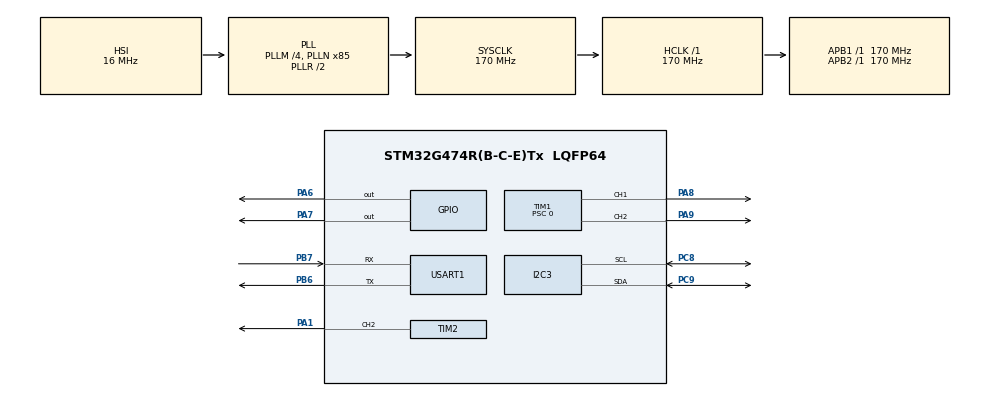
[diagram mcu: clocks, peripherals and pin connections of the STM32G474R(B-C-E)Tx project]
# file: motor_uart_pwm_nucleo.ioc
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I2C3.Timing=0x40B285C2
Mcu.Family=STM32G4
Mcu.Name=STM32G474R(B-C-E)Tx
Mcu.Package=LQFP64
NUCLEO-G474RE.BUTTON=1
NUCLEO-G474RE.LD2=true
NUCLEO-G474RE.VCP=false
NVIC.EXTI15_10_IRQn=true\:0\:0\:false\:false\:true\:false\:true\:true
NVIC.PriorityGroup=NVIC_PRIORITYGROUP_4
NVIC.TIM4_IRQn=true\:0\:0\:false\:false\:true\:true\:true\:true
NVIC.USART1_IRQn=true\:1\:0\:true\:false\:true\:true\:true\:true
PA1.Signal=S_TIM2_CH2
PA13.GPIO_Label=T_SWDIO
PA13.Mode=Serial_Wire
PA13.Signal=SYS_JTMS-SWDIO
PA14.GPIO_Label=T_SWCLK
PA14.Mode=Serial_Wire
PA14.Signal=SYS_JTCK-SWCLK
PA6.GPIO_PuPd=GPIO_NOPULL
PA6.Signal=GPIO_Output
PA7.Signal=GPIO_Output
PA8.GPIO_Speed=GPIO_SPEED_FREQ_VERY_HIGH
PA8.Signal=S_TIM1_CH1
PA9.GPIO_Speed=GPIO_SPEED_FREQ_VERY_HIGH
PA9.Signal=S_TIM1_CH2
PB3.GPIO_Label=T_SWO
PB3.Signal=SYS_JTDO-SWO
PB6.Mode=Asynchronous
PB6.Signal=USART1_TX
PB7.Mode=Asynchronous
PB7.Signal=USART1_RX
PC14-OSC32_IN.GPIO_Label=RCC_OSC32_IN
PC14-OSC32_IN.Signal=RCC_OSC32_IN
PC15-OSC32_OUT.GPIO_Label=RCC_OSC32_OUT
PC15-OSC32_OUT.Signal=RCC_OSC32_OUT
PC8.Mode=I2C
PC8.Signal=I2C3_SCL
PC9.Mode=I2C
PC9.Signal=I2C3_SDA
PF0-OSC_IN.GPIO_Label=RCC_OSC_IN
PF0-OSC_IN.Mode=HSE-External-Oscillator
PF0-OSC_IN.Signal=RCC_OSC_IN
PF1-OSC_OUT.GPIO_Label=RCC_OSC_OUT
PF1-OSC_OUT.Mode=HSE-External-Oscillator
PF1-OSC_OUT.Signal=RCC_OSC_OUT
ProjectManager.HeapSize=0x200
ProjectManager.StackSize=0x400
ProjectManager.TargetToolchain=CMake
RCC.ADC12Freq_Value=170000000
RCC.ADC345Freq_Value=170000000
RCC.AHBFreq_Value=170000000
RCC.APB1Freq_Value=170000000
RCC.APB1TimFreq_Value=170000000
RCC.APB2Freq_Value=170000000
RCC.APB2TimFreq_Value=170000000
RCC.CortexFreq_Value=170000000
RCC.EXTERNAL_CLOCK_VALUE=12288000
RCC.HCLKFreq_Value=170000000
RCC.HSE_VALUE=24000000
RCC.HSI48_VALUE=48000000
RCC.HSI_VALUE=16000000
RCC.LSE_VALUE=32768
RCC.PLLM=RCC_PLLM_DIV4
RCC.PLLN=85
RCC.RTCClockSelection=RCC_RTCCLKSOURCE_LSE
RCC.SYSCLKFreq_VALUE=170000000
RCC.SYSCLKSource=RCC_SYSCLKSOURCE_PLLCLK
RCC.USBFreq_Value=170000000
RCC.VCOOutputFreq_Value=340000000
SH.S_TIM1_CH1.0=TIM1_CH1,PWM Generation1 CH1
SH.S_TIM1_CH2.0=TIM1_CH2,PWM Generation2 CH2
SH.S_TIM2_CH2.0=TIM2_CH2,PWM Generation2 CH2
TIM1.AutoReloadPreload=TIM_AUTORELOAD_PRELOAD_ENABLE
TIM1.Channel-PWM\ Generation1\ CH1=TIM_CHANNEL_1
TIM1.Channel-PWM\ Generation2\ CH2=TIM_CHANNEL_2
TIM1.PeriodNoDither=8499
TIM1.Prescaler=0
TIM2.AutoReloadPreload=TIM_AUTORELOAD_PRELOAD_DISABLE
TIM2.Channel-PWM\ Generation2\ CH2=TIM_CHANNEL_2
TIM2.PeriodNoDither=2999
TIM2.Prescaler=169
TIM2.PulseNoDither_2=1520
TIM4.PeriodNoDither=19
TIM4.Prescaler=16999
USART1.VirtualMode-Asynchronous=VM_ASYNC
VP_NUCLEO-G474RE_VS_BSP_COMMON.Mode=COMMON
VP_SYS_VS_DBSignals.Mode=DisableDeadBatterySignals
VP_TIM1_VS_ClockSourceINT.Mode=Internal
VP_TIM2_VS_ClockSourceINT.Mode=Internal
VP_TIM4_VS_ClockSourceINT.Mode=Internal
board=NUCLEO-G474RE

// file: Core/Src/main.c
/* USER CODE BEGIN Header */
/**
  ******************************************************************************
  * @file           : main.c
  * @brief          : Main program body
  ******************************************************************************
  * @attention
  *
  * Copyright (c) 2026 STMicroelectronics.
  * All rights reserved.
  *
  * This software is licensed under terms that can be found in the LICENSE file
  * in the root directory of this software component.
  * If no LICENSE file comes with this software, it is provided AS-IS.
  *
  ******************************************************************************
  */
/* USER CODE END Header */
#include "main.h"
#include "i2c.h"
#include "tim.h"
#include "usart.h"
#include "gpio.h"

/* USER CODE BEGIN Includes */
#include "bms_app.h"     // MAX17320 pack monitor on I2C3, console on the VCP
#include "bms_io.h"      // console printing, for the steering calibration keys

#include "steering.h"
#include <string.h>
#include <stdlib.h>
#include "motor_dc.h"
#include "i2c_bus.h"

/* USER CODE END Includes */

/* USER CODE BEGIN PD */

#define UART_PACKET_START     0xA5
#define UART_PACKET_SIZE      5

#define UART_CMD_CONTROL      0x10
#define UART_CMD_ESTOP        0x11
#define UART_CMD_PING         0x12
#define UART_CMD_STOP         0x13

#define DC_PERCENT_MAX        100
#define DC_PWM_MIN_START      1280
#define DC_PWM_MAX            5000

// Physical direction inversion, in one named place.
//
// The protocol says motor_percent > 0 means DRIVE FORWARD. motor_dc.h says
// speed > 0 energises RPWM (PA8/TIM1_CH1). On this vehicle those two do not
// agree: with the bridge wired as it is, RPWM drives the wheels BACKWARDS.
// So the protocol value is negated exactly once, here, on its way into
// MotorPercent_ToPwm(), and nothing downstream needs to know.
//
// VERIFIED ON THE VEHICLE 2026-08-16: with the car on blocks, the bench-drive
// forward key turned the wheels physically forward. This sign is correct as it
// stands -- do not "fix" it without re-testing on blocks.
//
// If the motor leads are ever swapped, flip this to +1 and change nothing
// else. It was previously an unexplained unary minus buried in the CONTROL
// handler, which is a bad place for the one line that decides whether "full
// throttle forward" drives the car into the audience.
#define MOTOR_FORWARD_SIGN    (-1)

// Speed ceiling, as a percentage of the span ABOVE the breakaway threshold.
// DC_PWM_MIN_START is never scaled -- below it the motor does not turn at
// all, so shrinking that would produce a dead zone rather than a slow car.
//
// The vehicle weighs about 4 kg (verify -- it has never been put on a
// scale, and the figure quoted here used to be 10 kg, which is either a
// stale number from an earlier chassis or a guess; weigh it before using
// this to reason about anything), and breaking away from standstill needs
// noticeably more torque than keeping it rolling. So the default starts
// HIGH ENOUGH TO DEFINITELY MOVE and is meant to be dialled DOWN on the
// floor -- starting low and creeping up leaves you unable to tell "the
// limit is too low" from "something is mechanically stuck".
//
// What made it violent before was not this ceiling, it was that the ceiling
// was applied instantly. With the ramp, the same top speed is reached over
// a couple of seconds.
//
// Adjustable live from the console with + and - (5 % steps), reported by m.
// Once a good value is found on the floor, put it here so it survives a reset.
//
// SET TO 35 % on 2026-08-16, chosen ON THE FLOOR under the car's own weight,
// not on blocks. The requirement is that it moves slowly and deliberately, not
// that it reaches a good top speed. Walked up 20 -> 25 -> 30 on the bench,
// then raised to 35 after actually driving it around on the joystick, which
// is the only test that counts. 40 was the other candidate -- if 35 still
// feels short, '+' one step and put 40 here.
//
// DC_PWM_MIN_START is added before this scaling and never scaled by it, which
// is what keeps the breakaway kick intact at a low ceiling -- the car still
// starts from standstill, it just tops out low.
//
// Pack current measured at this setting, which is what matters because the
// protector sits in the motor's path:
//     0.11 A at rest      0.44 A wheels in the air
//     1.5 A driving straight      2.3 A driving at full steering lock
// No protector trips at any point, against a practical ceiling near 10 A set
// by the 5 mOhm shunt's own dissipation.
#define DC_SPEED_LIMIT_PCT_DEFAULT   40

// Set to 1 only for bench testing without a UART master connected.
// Keep it 0 for normal operation: the demo block below drives the servo
// through Steering_SetPosition() itself and would fight real UART commands,
// plus its HAL_Delay() calls stall UART packet processing for seconds.
//
// While this is 1 the main loop blocks for 4 s per iteration, so the drive
// watchdog, the partial-frame recovery and the pack monitor all stop being
// serviced for that long. The motor is started and hard-braked twice per
// iteration for as long as the board is powered, with nobody watching.
// Never leave this enabled on a board connected to the pack.
#define STEERING_DEMO_SELFTEST   0

#if STEERING_DEMO_SELFTEST
#warning "STEERING_DEMO_SELFTEST is ENABLED: the motor will run on its own, unattended. Bench only."
#endif

// Drive watchdog: how long the motor may keep running without a fresh valid
// CONTROL packet.
//
// This value is COUPLED TO THE RASPBERRY PI and must not be lowered alone.
// pi-control/controller.py sends a packet only when the command changes, plus
// a keepalive every _RESEND_INTERVAL = 0.2 s. So with the stick held still the
// link runs at 5 Hz, not at "tens of Hz" as was once assumed here.
//
// 500 ms is therefore two and a half keepalive intervals of margin. 300 ms
// would leave one and a half: a single dropped packet, or one scheduling
// hiccup on a Pi that is also running a TFLite model under the GIL, would
// stop the car mid-demonstration and look like a random fault.
//
// To go faster, change BOTH sides: _RESEND_INTERVAL = 0.05 on the Pi first,
// then this to 300U. Six intervals of margin and a fail-safe twice as quick.
#define UART_CONTROL_TIMEOUT_MS          500U

// The bench-drive console keys ('t'/'v') get their own, longer deadline.
//
// They are fed by terminal key auto-repeat, and auto-repeat does NOT start at
// the repeat rate -- it starts after the repeat DELAY, which is 660 ms by X11
// default and 500 ms on GNOME. With one shared 500 ms deadline the first
// repeat arrives at or after the deadline, so a *held* key produces
// arm -> fail-safe -> re-arm on every hold: the ramp is reset to zero and the
// pack sees a repeated breakaway load instead of one smooth pull. 900 ms
// clears the worst common repeat delay with margin.
//
// This does not weaken the RPi path: that still uses UART_CONTROL_TIMEOUT_MS.
#define BENCH_DRIVE_TIMEOUT_MS           900U

// How long a bench-drive arm stays valid. The first 't'/'v' keypress only
// arms; driving needs a second press inside this window. One stray byte on
// the console therefore cannot command throttle at all -- which matters
// because, unlike the RPi path, a console key has no start byte, no length
// and no checksum protecting it.
#define BENCH_ARM_WINDOW_MS             3000U

// Recovery from a packet that started but was not completed. At 115200 baud
// a 5-byte packet takes about 0.43 ms, so 10 ms is over twenty frame times:
// generous enough never to chop a frame that is merely in flight, short
// enough to resynchronise long before the drive watchdog above expires.
#define UART_PARTIAL_FRAME_TIMEOUT_MS      10U

// --- Pack telemetry interlock -----------------------------------------------
//
// bms_app_pack_state() reports BMS_PACK_UNKNOWN whenever it has no fresh
// sample, i.e. whenever the I2C link to the gauge is down. Treating that as
// "carry on driving" makes the interlock fail-open: a pulled I2C wire silently
// removes the only protection that watches the pack, and the car keeps its
// full-authority bridge enabled with nobody looking at the cells.
//
// So UNKNOWN is given a short grace period (the poll runs every 250 ms and the
// monitor calls a sample stale after 1.5 s, so 2 s is about one missed sample
// beyond the monitor's own staleness limit -- long enough that a single
// hiccup does not stop the car, short enough that a real disconnection does).
// After that the drive is dropped, and re-arming needs a positive, fresh
// BMS_PACK_OK -- not merely "not BLOCKED", which UNKNOWN also satisfies.
//
// Set to 0 to build a firmware that drives on blind. This is the escape hatch
// for the case where the interlock itself is the failure: a broken I2C wire
// discovered ten minutes before a live demonstration must not be able to
// immobilise the vehicle. There is a runtime escape too (console key 'i'),
// which is preferable because it needs no rebuild and announces itself loudly.
//
// Note that neither escape touches BMS_PACK_BLOCKED. BLOCKED is a positive
// statement that the protector has opened the discharge path, and dropping the
// bridge on it is the behaviour that keeps the load off the protector during
// its recovery -- the cycle that destroyed the previous board. That stays
// unconditional.
#ifndef BMS_INTERLOCK_REQUIRE_TELEMETRY
#define BMS_INTERLOCK_REQUIRE_TELEMETRY  1
#endif

#define BMS_TELEMETRY_GRACE_MS         2000U

// --- Independent watchdog ---------------------------------------------------
//
// IWDG runs off the LSI, which is independent of the PLL and of every clock
// this firmware configures, so it survives a clock failure as well as a
// software livelock. Nothing else in this build can recover a main loop that
// stops looping: the drive watchdog, the partial-frame recovery and the pack
// interlock are all evaluated *by* that loop.
//
// Timeout choice. The longest legitimate main-loop iteration is not the drive
// path (microseconds) but the pack monitor's console commands, which do
// blocking I2C: the NV config check reads ten registers, each of which can sit
// in its 50 ms HAL timeout on a sick bus, and the probe/bus-check keys add
// their own hundreds of milliseconds. Round that worst case up to ~1 s. The
// period below is 2.5 s nominal, so roughly 2.5x the worst legitimate
// iteration -- a console command cannot trip it -- while a genuine hang is
// caught in under three seconds.
//
// 2.5 s at LSI 32 kHz: prescaler /128 gives a 250 Hz count, so 625 counts.
// LSI is specified 31.04..32.96 kHz on this part, which puts the real window
// at 2.43..2.58 s. Both ends are comfortably clear of the ~1 s worst case.
#define IWDG_KR_RELOAD    0x0000AAAAU
#define IWDG_KR_ENABLE    0x0000CCCCU
#define IWDG_KR_UNLOCK    0x00005555U
#define IWDG_PRESCALER_128        0x05U   // PR[2:0] = 5 -> LSI/128
#define IWDG_RELOAD_COUNTS         625U   // 625 / (32000/128) = 2.5 s

// Contact bounce on the blue USER button is a burst of edges over a few
// milliseconds. Latching an emergency stop twice is harmless, so this window
// exists only to keep one press from printing several times; it is not a
// correctness requirement.
#define ESTOP_BUTTON_DEBOUNCE_MS    200U

// How long after latching a stop the same button will refuse to clear it.
// Long enough that clearing is unmistakably a second, deliberate press rather
// than a bounce, a knock, or the tail of a panicked double-tap.
#define ESTOP_BUTTON_REARM_MS      1500U

/* USER CODE END PD */

/* USER CODE BEGIN PV */

uint8_t rx_byte;

uint8_t uart_packet[UART_PACKET_SIZE];
volatile uint8_t uart_packet_index = 0;

static volatile uint8_t uart_packet_ready = 0;
static uint8_t uart_packet_rx[UART_PACKET_SIZE];

// UART safety state.
// drive_watchdog_armed is set only by valid CONTROL packets. PING/unknown
// packets must not keep the car driving.
static volatile uint32_t last_control_packet_tick = 0U;
static volatile uint32_t last_rx_byte_tick = 0U;
static volatile uint8_t drive_watchdog_armed = 0U;

// Which deadline the CONTROL watchdog is currently enforcing. Set by whichever
// source last commanded the drive, so the RPi keeps its tight 500 ms while the
// console bench keys get the longer window auto-repeat needs.
static volatile uint32_t drive_timeout_ms = UART_CONTROL_TIMEOUT_MS;

// RPi link statistics, printed by the 'l' console key.
//
// Without these the only way to tell a live link from a dead one is to watch
// whether the car moves, which means finding out about a broken link with the
// wheels already turning. These separate the failure modes: no bytes at all
// (cable, ground, RPi not booted) reads differently from bytes arriving but
// failing CRC (baud rate, noise, wrong wiring), which reads differently again
// from good frames being rejected on value range (protocol mismatch).
//
// They are plain counters, never cleared, so a rate is the difference between
// two readings. Incrementing a uint32_t is a few cycles and the ones touched
// from the ISR are written only there, so no guarding is needed.
static volatile uint32_t link_bytes       = 0U;  // bytes seen by the RX ISR
static volatile uint32_t link_frames      = 0U;  // complete 5-byte frames assembled
static volatile uint32_t link_frames_used = 0U;  // frames the main loop actually read
/* Five-byte windows rejected by the checksum -- not frames. After a resync the
 * windows overlap, so on an 0xA5-dense line this can rise much faster than one
 * per frame. Compare it against link_frames, never against a frame count from
 * before the sliding resync existed. */
static volatile uint32_t link_crc_err     = 0U;
static volatile uint32_t link_range_err   = 0U;  // CONTROL rejected on value range
static volatile uint32_t link_control_ok  = 0U;  // CONTROL accepted and acted on
static volatile uint32_t link_estop       = 0U;  // ESTOP frames latched in the ISR
static volatile uint32_t link_uart_err    = 0U;  // HAL error callbacks (noise/overrun)
static volatile uint32_t link_partial     = 0U;  // frames that started but never finished
static volatile uint32_t link_resync      = 0U;  // sliding-window resyncs after a bad checksum

// Payload of the last accepted CONTROL packet, plus the largest throttle
// magnitude ever seen. Without these, "the car does not move" cannot be told
// apart from "the sender is asking for zero throttle" -- the firmware side
// looks identical in both cases: link healthy, bridge armed, no faults.
static volatile int8_t   link_last_motor  = 0;
static volatile uint8_t  link_last_steer  = 50U;
static volatile uint8_t  link_max_motor   = 0U;  // peak |motor_percent| seen
static volatile uint8_t  link_steer_min   = 255U;
static volatile uint8_t  link_steer_max   = 0U;

// Times the drive was dropped by something other than the operator, and how
// long ago the last one was.
//
// These exist because a watchdog drop and ordinary load look identical from
// the driver's seat: the car simply goes slow for a moment. It is not the same
// event at all -- a watchdog drop opens the bridge and restarts the ramp from
// zero, which costs about a second to get back to speed, and it means a
// command was lost. Guessing between "the link hiccupped" and "the turn was
// just heavy" is exactly the kind of thing that cannot be done on a stage.
static volatile uint32_t drop_watchdog    = 0U;  // CONTROL watchdog expired
static volatile uint32_t drop_pack        = 0U;  // pack interlock took the drive
static volatile uint32_t drop_last_tick   = 0U;

// After the pack protector cuts the discharge path, the bridge must stay
// off until the pack has read healthy continuously for this long. Without
// it the RPi's command stream -- controller.py resends at least every 200 ms
// (_RESEND_INTERVAL = 0.2, so ~5 Hz at rest and faster while the joystick is
// moving) -- would re-arm on the very next packet, and the protector would be
// hammered repeatedly, which is precisely the cycle that destroyed the
// previous board. Use the 'l' console key to see the measured rate.
#define PACK_RECOVER_HOLD_MS  1000U

static volatile uint32_t pack_rearm_after_tick = 0U;

// Pack telemetry interlock state.
//   pack_telemetry_ok    -- the most recent evaluation of bms_app_pack_state()
//                           returned a positive BMS_PACK_OK. Re-arming requires
//                           this, so "the monitor is silent" can never be
//                           mistaken for "the pack is fine".
//   pack_unknown_since   -- when the current run of UNKNOWN began, for the
//                           grace period. Only meaningful while
//                           pack_unknown_active is set.
static volatile uint8_t  pack_telemetry_ok    = 0U;
static volatile uint8_t  pack_unknown_active  = 0U;
static volatile uint32_t pack_unknown_since   = 0U;

// Runtime escape from the telemetry half of the interlock, armed from the
// console with 'i'. Session-scoped on purpose: it is deliberately NOT
// persisted anywhere, so a power cycle puts the interlock back.
static volatile uint8_t  bms_telemetry_interlock_off = 0U;

// --- Emergency stop latch ---------------------------------------------------
//
// "Latest packet wins" is the right rule for CONTROL and the wrong rule for
// ESTOP. The USART1 ISR holds exactly one completed packet, so if an ESTOP and
// a CONTROL both land between two passes of the main loop the ESTOP is
// overwritten and never acted on -- the one packet that must never be dropped
// is the one this design drops most easily.
//
// So ESTOP is not carried in that mailbox at all. The ISR sets this flag, and
// it is sticky: it is cleared only by a deliberate re-arm (console 'e', or a
// board reset), never by the CONTROL packets that keep arriving behind it.
// Acting on the same stop twice is harmless; losing it once is not.
//
// estop_handled is main-loop-only bookkeeping so the fail-safe (which sleeps
// 3 ms and prints) runs once per latch rather than every pass.
static volatile uint8_t estop_latched = 0U;
static uint8_t          estop_handled = 0U;

static volatile uint8_t motor_limit_pct = DC_SPEED_LIMIT_PCT_DEFAULT;

// Reflects the state of R_EN/L_EN (PA6/PA7). The bridge is NOT armed at boot:
// it is armed by the first valid CONTROL packet and disarmed by every fault
// path, so there is no window where a live bridge is unsupervised.
static volatile uint8_t drive_enabled = 0U;

/* USER CODE END PV */

void SystemClock_Config(void);
/* USER CODE BEGIN PFP */

static uint8_t UART_CalcCRC(uint8_t start, uint8_t cmd, uint8_t motor, uint8_t steer);
static void UART_Resync(void);
static int16_t MotorPercent_ToPwm(int8_t percent);
static void UART_SendPacket(uint8_t cmd, int8_t motor, uint8_t steer_position);
static void UART_ProcessPacket(uint8_t *packet);
static bool Console_AuxKey(char c);
static bool Console_MayBlock(void);
static void IWDG_Start(void);

// Declared up here because Console_AuxKey() drives the bench-test keys through
// the very same arming path a CONTROL packet uses, and it is defined above the
// drive helpers.
static void Drive_Arm(void);
static void IWDG_Refresh(void);

// True while the telemetry half of the pack interlock is in force. Compiled
// out entirely by BMS_INTERLOCK_REQUIRE_TELEMETRY=0; otherwise it can still be
// waived for the rest of the session from the console.
static inline bool Bms_TelemetryInterlockActive(void)
{
#if BMS_INTERLOCK_REQUIRE_TELEMETRY
    return (bms_telemetry_interlock_off == 0U);
#else
    (void)bms_telemetry_interlock_off;   // kept referenced in the =0 build
    return false;
#endif
}
// -----------------------------------------------------------------------------
// Vehicle console: steering calibration, speed limit, and the two safety
// overrides.
//
//   e     clear a latched emergency stop (deliberate re-arm)
//   i     waive the pack TELEMETRY interlock for the rest of this session,
//         with a confirmation. Never waives BMS_PACK_BLOCKED.
//   m     report motor limit, emergency-stop latch and interlock state
//
// Steering calibration.
//
// The 0..100 position scale interpolates between STEERING_LEFT_US and
// STEERING_RIGHT_US, and those are only valid for one mechanical setup. After
// the steering geometry changes, driving to 0 or 100 can push the servo into a
// stop -- where it stalls, draws its full stall current continuously from the
// pack, and works against the linkage.
//
// So these keys command the pulse width directly, over the monitor's console
// on the ST-Link VCP, and the stops can be found without rebuilding:
//
//   >  <   step +/- 10 us        =   back to the compiled centre
//   .  ,   step +/- 50 us        s   report the commanded pulse width
//
// Procedure: unload the linkage (or lift the wheels), press '=', then step
// outwards a little at a time. Stop at the FIRST sign of buzzing or of the
// current rising -- that is the stop, not the limit. Back off 50..80 us from
// it and use that as the new STEERING_LEFT_US / STEERING_RIGHT_US.
// -----------------------------------------------------------------------------
static bool Console_AuxKey(char c)
{
    // Tracked separately from Steering_GetCurrentPulseUs(), which lags while
    // the slew is still running -- stepping off the lagging value would make
    // each press move less than it says.
    static uint16_t calib_us = 0U;

    // Waiving the telemetry interlock is a two-key sequence, because it turns
    // off a protection for the rest of the session and a stray keystroke must
    // not be able to do that. The pending state expires on its own so it
    // cannot silently swallow a later 'y' meant for something else.
    static bool     interlock_confirm_pending = false;
    static uint32_t interlock_confirm_tick    = 0U;

    int32_t step = 0;

    if (calib_us == 0U)
    {
        calib_us = Steering_GetCurrentPulseUs();
    }

    if (interlock_confirm_pending)
    {
        if ((int32_t)(HAL_GetTick() - interlock_confirm_tick) >= 0)
        {
            // Expired. Fall through and treat this key as an ordinary command.
            interlock_confirm_pending = false;
        }
        else
        {
            interlock_confirm_pending = false;

            if ((c == 'y') || (c == 'Y'))
            {
                bms_telemetry_interlock_off = 1U;
                bms_printf(
                    "\r\n"
                    "*** PACK TELEMETRY INTERLOCK IS OFF ***\r\n"
                    "*** The car will now drive with NO fresh pack data. Nothing\r\n"
                    "*** is watching cell voltage, current or temperature. The\r\n"
                    "*** protector's own BLOCKED signal is still honoured, but it\r\n"
                    "*** cannot be seen while the I2C link is down.\r\n"
                    "*** Fix the link. Power-cycle the board to restore this.\r\n");
            }
            else
            {
                bms_printf("\r\ninterlock override cancelled -- interlock still ON\r\n");
            }
            return true;
        }
    }

    switch (c)
    {
        case 'l':
        case 'L':
        {
            // Snapshot the counters once. They are written from the RX ISR,
            // so reading each one twice could print a self-inconsistent set
            // (e.g. more frames used than assembled).
            uint32_t now         = HAL_GetTick();
            uint32_t bytes       = link_bytes;
            uint32_t frames      = link_frames;
            uint32_t used        = link_frames_used;
            uint32_t ctrl_ok     = link_control_ok;
            uint32_t crc_bad     = link_crc_err;
            uint32_t range_bad   = link_range_err;
            uint32_t estops      = link_estop;
            uint32_t uart_errs   = link_uart_err;
            uint32_t byte_age    = now - last_rx_byte_tick;
            uint32_t ctrl_age    = now - last_control_packet_tick;

            // Frames the ISR assembled while the main loop was busy, so the
            // mailbox was overwritten before it was read. A few is normal;
            // a large and growing number means the loop is being held up.
            uint32_t overwritten = frames - used;

            // bms_printf() truncates past 256 bytes, so this is deliberately
            // split rather than written as one big format string.
            bms_printf("\r\nRPi link  --  USART1 PB6/PB7 @ 115200 8N1\r\n"
                       "  bytes      %10lu    last byte    %lu ms ago\r\n",
                       (unsigned long)bytes, (unsigned long)byte_age);
            bms_printf("  frames     %10lu    overwritten  %lu\r\n"
                       "  CONTROL ok %10lu    last CONTROL %lu ms ago\r\n",
                       (unsigned long)frames, (unsigned long)overwritten,
                       (unsigned long)ctrl_ok, (unsigned long)ctrl_age);
            bms_printf("  CRC bad(w) %10lu    range bad    %lu\r\n"
                       "  ESTOP rx   %10lu    UART errors  %lu\r\n",
                       (unsigned long)crc_bad, (unsigned long)range_bad,
                       (unsigned long)estops, (unsigned long)uart_errs);
            bms_printf("  truncated  %10lu    resyncs      %lu\r\n",
                       (unsigned long)link_partial, (unsigned long)link_resync);
            bms_printf("  last CONTROL payload: motor %d %%   steer %u\r\n"
                       "  seen so far: |motor| max %u %%   steer %u..%u\r\n",
                       (int)link_last_motor, (unsigned)link_last_steer,
                       (unsigned)link_max_motor,
                       (unsigned)((link_steer_min == 255U) ? 0U : link_steer_min),
                       (unsigned)link_steer_max);

            {
                uint32_t wd = drop_watchdog, pk = drop_pack;

                if ((wd == 0U) && (pk == 0U))
                {
                    bms_print("  drive never dropped by itself since boot\r\n");
                }
                else
                {
                    bms_printf("  DRIVE DROPPED: link watchdog %lu, pack %lu"
                               "  (last %lu ms ago)\r\n",
                               (unsigned long)wd, (unsigned long)pk,
                               (unsigned long)(now - drop_last_tick));
                    bms_print("  -> each drop opens the bridge and restarts the\r\n"
                              "     ramp from zero: about a second back to speed.\r\n");
                }
            }
            bms_printf("  drive watchdog %s  (timeout %u ms)\r\n",
                       drive_watchdog_armed ? "ARMED" : "not armed",
                       (unsigned)UART_CONTROL_TIMEOUT_MS);

            // A verdict, so the numbers do not have to be interpreted under
            // time pressure. Ordered most-fundamental failure first.
            if (bytes == 0U)
            {
                bms_print("  -> NOTHING RECEIVED. Check: RPi booted and its sender\r\n"
                          "     running, PB7 <- RPi TX, PB6 -> RPi RX, common GND.\r\n");
            }
            else if ((ctrl_ok == 0U) && (crc_bad > 0U))
            {
                bms_print("  -> bytes arrive but every frame fails CRC: wrong baud,\r\n"
                          "     TX/RX swapped, or noise on the line.\r\n");
            }
            else if ((ctrl_ok == 0U) && (range_bad > 0U))
            {
                bms_print("  -> frames are valid but values are out of range:\r\n"
                          "     protocol mismatch with the RPi side.\r\n");
            }
            else if (ctrl_ok == 0U)
            {
                bms_print("  -> bytes arrive but no complete CONTROL frame yet.\r\n");
            }
            else if (byte_age > 2000U)
            {
                bms_print("  -> link WAS alive and has gone quiet. RPi stopped\r\n"
                          "     sending, lost power, or the cable came off.\r\n");
            }
            else if (ctrl_age > UART_CONTROL_TIMEOUT_MS)
            {
                bms_print("  -> stale: last good CONTROL is older than the drive\r\n"
                          "     watchdog. The car will not move.\r\n");
            }
            else
            {
                bms_print("  -> link is LIVE\r\n");
            }
            return true;
        }

        case 'h':
        case 'H':
            // Appended under the monitor's own help screen. Kept to a few
            // lines so it does not push the pack readout off a short terminal.
            bms_print("\r\n vehicle keys\r\n"
                      "   t / v   bench drive forward / reverse (hold, no RPi needed)\r\n"
                      "   > <     steer right / left by 10 us      . ,  by 50 us\r\n"
                      "   =       centre steering                  s    show pulse\r\n");
            bms_print("   + -     speed limit up / down 5%         m    show limit\r\n"
                      "   l       RPi link statistics              e    clear e-stop\r\n"
                      "   i       waive pack telemetry interlock (asks to confirm)\r\n");
            return true;

        case 't':
        case 'T':
        case 'v':
        case 'V':
        {
            // Bench drive with no RPi attached.
            //
            // This deliberately reuses the exact path a CONTROL packet takes --
            // Drive_Arm(), the ramp inside MotorDC_SetSpeed(), the same speed
            // limiter and the same drive watchdog -- so what gets tested here
            // is what will actually run in the car, not a bypass around it.
            //
            // Safe by construction: one keypress refreshes the drive watchdog
            // exactly like one packet would. The motor keeps turning only
            // while keys keep arriving; stop pressing and the watchdog opens
            // the bridge after UART_CONTROL_TIMEOUT_MS. There is no state to
            // get stuck in and no way to walk away from a spinning wheel.
            static uint32_t bench_msg_tick = 0U;
            static uint32_t bench_arm_tick = 0U;
            static bool     bench_armed    = false;
            bool forward = ((c == 't') || (c == 'T'));
            uint32_t tick = HAL_GetTick();

            if (estop_latched)
            {
                bench_armed = false;
                bms_print("\r\nemergency stop latched -- clear it with 'e' first\r\n");
                return true;
            }

            // First press only arms; it does not move anything. A console key
            // has no start byte, no length and no checksum behind it, so a
            // single stray byte must not be able to command throttle. The arm
            // expires on its own so it cannot sit waiting indefinitely.
            if (!bench_armed || ((tick - bench_arm_tick) > BENCH_ARM_WINDOW_MS))
            {
                bench_armed   = true;
                bench_arm_tick = tick;
                bms_printf("\r\nbench drive ARMED (%s) -- press the same key again "
                           "within %u ms to actually drive\r\n",
                           forward ? "forward" : "reverse",
                           (unsigned)BENCH_ARM_WINDOW_MS);
                return true;
            }

            bench_arm_tick = tick;

            last_control_packet_tick = tick;
            drive_watchdog_armed = 1U;
            drive_timeout_ms = BENCH_DRIVE_TIMEOUT_MS;

            // Drive_Arm() enforces the pack interlock, so a blocked pack still
            // refuses to drive from here just as it would from a packet.
            Drive_Arm();
            MotorDC_SetSpeed(
                MotorPercent_ToPwm((int8_t)(MOTOR_FORWARD_SIGN * (forward ? 100 : -100))));

            // Held keys arrive several times a second; printing every one
            // would bury the dashboard.
            if ((tick - bench_msg_tick) > 700U)
            {
                bench_msg_tick = tick;
                bms_printf("\r\nbench drive %s at %u%% -- keep the key repeating, "
                           "stops %u ms after the last press\r\n",
                           forward ? "FORWARD" : "REVERSE",
                           (unsigned)motor_limit_pct,
                           (unsigned)BENCH_DRIVE_TIMEOUT_MS);
            }
            return true;
        }

        case 'e':
        case 'E':
            if (!estop_latched)
            {
                bms_printf("\r\nno emergency stop latched\r\n");
            }
            else
            {
                // Only clears the latch. The drive still has to be re-armed by
                // a CONTROL packet, and Drive_Arm() still has to be satisfied
                // about the pack, so this is a permission, not a start.
                //
                // Cleared as one indivisible step so an ESTOP landing between
                // the two stores cannot leave the pair inconsistent. A stop
                // that arrives in the instant BEFORE this is still swallowed --
                // no flag can distinguish "clear the stop I just saw" from
                // "clear the one that arrived a microsecond ago" -- but the ISR
                // has already cut the bridge at register level by then, and the
                // drive only comes back on the next CONTROL packet.
                __disable_irq();
                estop_latched = 0U;
                estop_handled = 0U;
                __enable_irq();
                bms_printf("\r\nemergency stop CLEARED -- drive re-arms on the "
                           "next CONTROL packet\r\n");
            }
            return true;

        case 'i':
        case 'I':
            if (!Bms_TelemetryInterlockActive())
            {
#if BMS_INTERLOCK_REQUIRE_TELEMETRY
                bms_printf("\r\npack telemetry interlock is already OFF for "
                           "this session\r\n");
#else
                bms_printf("\r\npack telemetry interlock is compiled out "
                           "(BMS_INTERLOCK_REQUIRE_TELEMETRY=0)\r\n");
#endif
                return true;
            }

            interlock_confirm_pending = true;
            interlock_confirm_tick    = HAL_GetTick() + 5000U;
            bms_printf("\r\nWAIVE the pack telemetry interlock for the rest of "
                       "this session?\r\n"
                       "The car would then drive with no fresh pack data.\r\n"
                       "Press y within 5 s to confirm, anything else to cancel: ");
            return true;

        case '>': step = +10; break;
        case '<': step = -10; break;
        case '.': step = +50; break;
        case ',': step = -50; break;

        case '=':
            Steering_Enable();
            Steering_SetPosition(50U);
            calib_us = Steering_GetCurrentPulseUs();
            bms_printf("\r\nsteering: centre\r\n");
            return true;

        case '+':
        case '-':
        {
            int32_t lim = (int32_t)motor_limit_pct + ((c == '+') ? 5 : -5);

            if (lim < 0)   { lim = 0; }
            if (lim > 100) { lim = 100; }
            motor_limit_pct = (uint8_t)lim;
            {
                int32_t top = DC_PWM_MIN_START +
                              ((int32_t)(DC_PWM_MAX - DC_PWM_MIN_START) * lim) / 100;
                int32_t arr = (int32_t)__HAL_TIM_GET_AUTORELOAD(&htim1) + 1;

                bms_printf("\r\nmotor limit: %u %%  -> full stick %ld/%ld "
                           "= %ld%% duty\r\n",
                           (unsigned)motor_limit_pct, (long)top, (long)arr,
                           (long)((top * 100) / arr));
            }
            return true;
        }

        case 'm':
        case 'M':
            bms_printf("\r\nmotor limit: %u %%   (+/- to change by 5)\r\n"
                       "bridge: %s   emergency stop: %s   (e to clear)\r\n"
                       "pack telemetry interlock: %s   fresh OK sample: %s\r\n",
                       (unsigned)motor_limit_pct,
                       drive_enabled ? "ARMED" : "off",
                       estop_latched ? "LATCHED" : "clear",
#if BMS_INTERLOCK_REQUIRE_TELEMETRY
                       bms_telemetry_interlock_off ? "WAIVED for this session"
                                                   : "on",
#else
                       "compiled out",
#endif
                       pack_telemetry_ok ? "yes" : "no");
            return true;

        case 's':
        case 'S':
            bms_printf("\r\nsteering: commanded %u us, now at %u us\r\n",
                       (unsigned)calib_us,
                       (unsigned)Steering_GetCurrentPulseUs());
            return true;

        default:
            return false;
    }

    {
        int32_t next = (int32_t)calib_us + step;

        if (next < 0) { next = 0; }
        calib_us = (uint16_t)next;

        Steering_Enable();
        Steering_SetPulseRawUs(calib_us);
        bms_printf("\r\nsteering: %u us  (%+ld)  -- stop at the first buzz "
                   "or rise in current\r\n", (unsigned)calib_us, (long)step);
    }
    return true;
}

// "Is it safe to stall the main loop right now?", asked by the pack monitor
// before every console command that does blocking I2C. Registered in main().
//
// The bridge being armed is the whole test: with R_EN/L_EN low the motor
// cannot move no matter how long this loop is held, and the operator gets
// the full bench console back. With the bridge armed, a second inside one
// I2C burst is a second in which the CONTROL watchdog, the pack interlock
// and the partial-frame recovery are all unevaluated while the wheels turn.
//
// This does NOT cover the monitor's automatic reconnect, which still probes
// on its own every 2 s while the gauge is unreachable -- gating that would
// leave the interlock blind for the rest of the trip after one bus glitch.
static bool Console_MayBlock(void)
{
    return (drive_enabled == 0U);
}

static void Drive_Arm(void);
static void Drive_FailSafe(void);

/* USER CODE END PFP */

int main(void)
{

  /* MCU Configuration--------------------------------------------------------*/

  /* Reset of all peripherals, Initializes the Flash interface and the Systick. */
  HAL_Init();

  /* Configure the system clock */
  SystemClock_Config();

  /* Initialize all configured peripherals */
  MX_GPIO_Init();
  MX_TIM2_Init();
  MX_TIM4_Init();
  MX_USART1_UART_Init();
  MX_TIM1_Init();
  MX_I2C3_Init();
  /* USER CODE BEGIN 2 */

  MotorDC_Init();

  // DC motor PWM for BTS7960: PA8/TIM1_CH1 = RPWM, PA9/TIM1_CH2 = LPWM.
  HAL_TIM_PWM_Start(&htim1, TIM_CHANNEL_1);
  HAL_TIM_PWM_Start(&htim1, TIM_CHANNEL_2);
  MotorDC_SetSpeed(0);

  // R_EN/L_EN deliberately stay LOW here. The bridge is armed by the first
  // valid CONTROL packet (or by the self-test block), never at boot: the
  // drive watchdog does not arm until that packet either, and a live bridge
  // with no supervision is exactly the state to avoid while the RPi boots.
  HAL_Delay(500);

  // A35BHLP steering servo on PA1/TIM2_CH2.
  // Steering scale is 0..100: 0=left, 50=center, 100=right.
  Steering_Init();
  Steering_Enable();
  Steering_SetPosition(50);

  // TIM4 calls Steering_Update() every 2 ms.
  HAL_TIM_Base_Start_IT(&htim4);

  // USART1 PB6/PB7 packet receiver.
  HAL_UART_Receive_IT(&huart1, &rx_byte, 1);

  // Console for the pack monitor. On this board BSP COM1 is LPUART1 on
  // PA2/PA3, which is exactly what the ST-Link exposes as a virtual COM
  // port. The RPi link is USART1 on PB6/PB7 and is not touched by this.
  {
    COM_InitTypeDef BspCOMInit;
    BspCOMInit.BaudRate   = 115200;
    BspCOMInit.WordLength = COM_WORDLENGTH_8B;
    BspCOMInit.StopBits   = COM_STOPBITS_1;
    BspCOMInit.Parity     = COM_PARITY_NONE;
    BspCOMInit.HwFlowCtl  = COM_HWCONTROL_NONE;
    if (BSP_COM_Init(COM1, &BspCOMInit) != BSP_ERROR_NONE)
    {
      Error_Handler();
    }
  }

  // MAX17320 pack monitor. Shares this loop, so it is built with
  // BMS_REALTIME_HOST: no blocking modes, and the register poll is spread
  // over calls so no single call holds the loop for more than about a
  // millisecond. Its console is LPUART1 (the ST-Link VCP), which is free
  // here -- the RPi link is USART1 on PB6/PB7 and is untouched.
  bms_app_init(&hi2c3, &hcom_uart[COM1]);

  // Steering calibration keys ride on the monitor's console. See
  // Console_AuxKey() -- needed until the limits are re-measured after the
  // steering geometry was opened up.
  bms_app_set_aux_key_handler(Console_AuxKey);

  // The monitor's heavy console commands ('n', 'x', 'c', 'b', 'p') do
  // blocking I2C and can hold this loop for up to a second. That is longer
  // than UART_CONTROL_TIMEOUT_MS, so a keystroke would stall the very loop
  // that is supposed to stop the motor. Refuse them while the bridge is
  // armed; with the drive off they behave exactly as on the bench.
  bms_app_set_block_guard(Console_MayBlock);

  // Watchdog is not armed at boot. It becomes armed only after the first
  // valid CONTROL packet. This avoids a false fail-safe while the RPi boots.
  last_control_packet_tick = HAL_GetTick();
  last_rx_byte_tick = HAL_GetTick();
  drive_watchdog_armed = 0U;

  /* USER CODE END 2 */

  /* Initialize led */
  BSP_LED_Init(LED_GREEN);

  /* Initialize USER push-button, used here as the bench emergency stop.
     See HAL_GPIO_EXTI_Callback(). */
  BSP_PB_Init(BUTTON_USER, BUTTON_MODE_EXTI);

  /* USER CODE BEGIN WHILE */

  // Start the hardware watchdog last, so nothing above it -- the 500 ms settle
  // delay, BSP_COM_Init, the monitor's first I2C probe -- can trip it. A hang
  // during init leaves the bridge disabled (R_EN/L_EN are still low and TIM1
  // is at zero duty), which is already the safe state; it is the running loop
  // that needs watching. Once started, IWDG cannot be stopped or reconfigured
  // until the next reset.
  IWDG_Start();

  /* Infinite loop */
  while (1)
  {
    // Pack monitor: one short slice of work per pass, never blocking.
    bms_app_run_once();

    // Pack safety interlock. The protector opens the discharge FET in
    // microseconds on an overcurrent, and the bridge must not stay enabled
    // into that transient -- keeping the load on both fights the
    // protector's own recovery test and leaves the driver's rail collapsing
    // while its enable pin is still held high by this MCU.
    //
    // UNKNOWN means the monitor has no fresh sample, i.e. we are blind. It is
    // given BMS_TELEMETRY_GRACE_MS to come back, and after that it is treated
    // as a fault: driving a pack nobody is watching is the state that this
    // whole interlock exists to prevent. See BMS_INTERLOCK_REQUIRE_TELEMETRY
    // above for the two escape hatches.
    {
        bms_pack_state_t pack = bms_app_pack_state();
        uint32_t pack_now = HAL_GetTick();

        if (pack == BMS_PACK_BLOCKED)
        {
            pack_telemetry_ok   = 0U;
            pack_unknown_active = 0U;

            // Push the re-arm deadline out on every pass the pack is bad,
            // so the hold is measured from the last fault, not the first.
            pack_rearm_after_tick = pack_now + PACK_RECOVER_HOLD_MS;

            if (drive_enabled)
            {
                drop_pack++;
                drop_last_tick = pack_now;

                Drive_FailSafe();
            }
        }
        else if (pack == BMS_PACK_OK)
        {
            // The only place this is ever set. Drive_Arm() requires it, so
            // "the monitor went quiet" can never be read as "the pack is fine".
            pack_telemetry_ok   = 1U;
            pack_unknown_active = 0U;
        }
        else /* BMS_PACK_UNKNOWN -- no fresh sample */
        {
            pack_telemetry_ok = 0U;

            if (!pack_unknown_active)
            {
                pack_unknown_active = 1U;
                pack_unknown_since  = pack_now;
            }

            if (Bms_TelemetryInterlockActive() &&
                ((pack_now - pack_unknown_since) > BMS_TELEMETRY_GRACE_MS) &&
                drive_enabled)
            {
                Drive_FailSafe();
            }
        }
    }

    // UART packet is assembled in USART interrupt, but processed here in main loop.
// Do not process full commands inside the interrupt.
    if (uart_packet_ready)
    {
        uint8_t packet_local[UART_PACKET_SIZE];

        __disable_irq();
        memcpy(packet_local, uart_packet_rx, UART_PACKET_SIZE);
        uart_packet_ready = 0U;
        __enable_irq();

        UART_ProcessPacket(packet_local);
    }

    // --- Emergency stop latch ------------------------------------------
    // Deliberately after packet processing: an ESTOP that the ISR latched
    // while a CONTROL packet was being applied above is undone in the same
    // pass, instead of one pass later with the bridge live in between.
    //
    // The latch itself is not cleared here. It stays set until somebody
    // presses 'e' on the console or resets the board, so the CONTROL packets
    // still streaming in behind the stop cannot drive away from it.
    if (estop_latched && !estop_handled)
    {
        estop_handled = 1U;

        Drive_FailSafe();   // zero PWM, settle, then bridge off -- coast
        Steering_Disable(); // immediate center + PWM hold

        bms_printf("\r\n*** EMERGENCY STOP LATCHED -- drive disabled. "
                   "Press 'e' to re-arm. ***\r\n");
    }

    // --- CONTROL watchdog ---------------------------------------------
    // The drive motor is allowed to keep running only while valid CONTROL
    // packets keep arriving periodically. If the RPi freezes, reboots, or the
    // UART cable is unplugged, this stops the car instead of holding the last
    // speed forever.
    uint32_t now = HAL_GetTick();

    // drive_timeout_ms is UART_CONTROL_TIMEOUT_MS for the RPi and the longer
    // BENCH_DRIVE_TIMEOUT_MS while the console bench keys are driving; see
    // where each one sets it.
    if (drive_watchdog_armed &&
        ((now - last_control_packet_tick) > drive_timeout_ms))
    {
        drop_watchdog++;
        drop_last_tick = now;

        Drive_FailSafe();   // zero PWM, then R_EN/L_EN low
        Steering_Disable(); // immediate center + PWM hold
    }

    // --- Stalled partial-frame recovery --------------------------------
    // If a frame started but did not finish, drop it after a short timeout so
    // the next real 0xA5 start byte can synchronize the parser again.
    // Keep the check+reset atomic to avoid resetting a freshly updated frame.
    //
    // The tick is read INSIDE the critical section. Read outside it, the
    // USART ISR could fire between the read and __disable_irq() and push
    // last_rx_byte_tick past the sampled "now" -- the subtraction then wraps
    // to a huge unsigned value and a frame that arrived microseconds ago is
    // discarded as stale, right in the middle of the byte stream.
    uint8_t partial_frame_dropped = 0U;
    __disable_irq();
    {
        uint32_t frame_now = HAL_GetTick();

        if ((uart_packet_index != 0U) &&
            ((frame_now - last_rx_byte_tick) > UART_PARTIAL_FRAME_TIMEOUT_MS))
        {
            uart_packet_index = 0U;
            partial_frame_dropped = 1U;
        }
    }
    __enable_irq();

    // A truncated frame is counted, not braked on.
    //
    // This used to call Drive_FailSafe(), which is a hard brake: MotorDC_Stop()
    // puts BOTH compares at zero, so both low-side switches conduct and the
    // motor is shorted through the bridge -- applied within one 50 us PWM
    // period, at whatever speed the car was doing. Recovery then costs about
    // half a second of ramp just to reach breakaway. One glitch on a jumper
    // produced a lurch, a stall and a slow crawl back up.
    //
    // It was a safety mechanism aimed at the wrong event. A truncated frame
    // means ONE command was lost. A dead link is what must drop the bridge,
    // and the CONTROL watchdog above already does that, more reliably. The
    // count is visible on the 'l' screen, which is where a flaky cable should
    // show up -- as evidence, not as a brake.
    if (partial_frame_dropped)
    {
        link_partial++;
    }

#if STEERING_DEMO_SELFTEST
    // ---------------- TEST WHILE BLOCK ----------------
    // DRIVE self-test: it centres the servo and then RUNS THE MOTOR, forward
    // and reverse, at 40 % of DC_PWM_MAX. It is not the "servo-only" test the
    // comment here used to call it -- the wheels turn, so the car must be on
    // blocks. Steering scale: 0 = left, 50 = center, 100 = right; the real
    // pulse range is limited in steering.c to the calibrated safe values
    // 2400 us / 1550 us / 750 us (measured 2026-08-16), not the full
    // 500..2500 us passport range.
    //
    // Only for bench testing: this keeps overwriting the steering target and
    // blocks the loop with HAL_Delay(), so real UART control must stay off
    // (STEERING_DEMO_SELFTEST == 0) whenever a UART master is connected.
    // The bridge is not armed at boot any more, so the self-test has to ask
    // for it. All speed changes below now go through the ramp in motor_dc.c.
    //
    // The watchdog is kicked between the delays: each individual HAL_Delay()
    // is shorter than the IWDG period, but the block as a whole is not, and a
    // bench self-test must not look like a hang.
    //
    // Drive_Arm() now also needs a fresh BMS_PACK_OK, so on a bench with no
    // gauge attached this block will spin without ever driving. Build with
    // -DBMS_INTERLOCK_REQUIRE_TELEMETRY=0 for that case.
    Drive_Arm();
    Steering_Enable();
    Steering_SetPosition(50);
    MotorDC_SetSpeed(0);

    HAL_Delay(1000);
    IWDG_Refresh();

    // Physically forward: see MOTOR_FORWARD_SIGN. Negative compare = LPWM.
    MotorDC_SetSpeed(MOTOR_FORWARD_SIGN * (DC_PWM_MAX * 40 / 100));
    HAL_Delay(500);
    IWDG_Refresh();

    MotorDC_SetSpeed(0);
    HAL_Delay(1000);
    IWDG_Refresh();

    // Physically reverse.
    MotorDC_SetSpeed(-MOTOR_FORWARD_SIGN * (DC_PWM_MAX * 40 / 100));
    HAL_Delay(500);
    IWDG_Refresh();

    MotorDC_SetSpeed(0);
    HAL_Delay(1000);
    // --------------------------------------------------
#endif

    // --- Hardware watchdog ---------------------------------------------
    // Refreshed once per pass, at the end, so the kick is evidence that a
    // whole iteration completed -- monitor slice, pack interlock, packet
    // processing, emergency stop, drive watchdog and frame recovery. Kicking
    // it at the top of the loop instead would keep the board alive through a
    // hang in any of those.
    IWDG_Refresh();

    /* USER CODE END WHILE */

  }
}

void SystemClock_Config(void)
{
  RCC_OscInitTypeDef RCC_OscInitStruct = {0};
  RCC_ClkInitTypeDef RCC_ClkInitStruct = {0};

  /** Configure the main internal regulator output voltage
  */
  HAL_PWREx_ControlVoltageScaling(PWR_REGULATOR_VOLTAGE_SCALE1_BOOST);

  /** Initializes the RCC Oscillators according to the specified parameters
  * in the RCC_OscInitTypeDef structure.
  */
  RCC_OscInitStruct.OscillatorType = RCC_OSCILLATORTYPE_HSI;
  RCC_OscInitStruct.HSIState = RCC_HSI_ON;
  RCC_OscInitStruct.HSICalibrationValue = RCC_HSICALIBRATION_DEFAULT;
  RCC_OscInitStruct.PLL.PLLState = RCC_PLL_ON;
  RCC_OscInitStruct.PLL.PLLSource = RCC_PLLSOURCE_HSI;
  RCC_OscInitStruct.PLL.PLLM = RCC_PLLM_DIV4;
  RCC_OscInitStruct.PLL.PLLN = 85;
  RCC_OscInitStruct.PLL.PLLP = RCC_PLLP_DIV2;
  RCC_OscInitStruct.PLL.PLLQ = RCC_PLLQ_DIV2;
  RCC_OscInitStruct.PLL.PLLR = RCC_PLLR_DIV2;
  if (HAL_RCC_OscConfig(&RCC_OscInitStruct) != HAL_OK)
  {
    Error_Handler();
  }

  /** Initializes the CPU, AHB and APB buses clocks
  */
  RCC_ClkInitStruct.ClockType = RCC_CLOCKTYPE_HCLK|RCC_CLOCKTYPE_SYSCLK
                              |RCC_CLOCKTYPE_PCLK1|RCC_CLOCKTYPE_PCLK2;
  RCC_ClkInitStruct.SYSCLKSource = RCC_SYSCLKSOURCE_PLLCLK;
  RCC_ClkInitStruct.AHBCLKDivider = RCC_SYSCLK_DIV1;
  RCC_ClkInitStruct.APB1CLKDivider = RCC_HCLK_DIV1;
  RCC_ClkInitStruct.APB2CLKDivider = RCC_HCLK_DIV1;

  if (HAL_RCC_ClockConfig(&RCC_ClkInitStruct, FLASH_LATENCY_4) != HAL_OK)
  {
    Error_Handler();
  }
}

/* USER CODE BEGIN 4 */

static uint8_t UART_CalcCRC(uint8_t start, uint8_t cmd, uint8_t motor, uint8_t steer)
{
    return (uint8_t)(start ^ cmd ^ motor ^ steer);
}

// Arms the BTS7960. PWM is forced to zero first, so the bridge can never come
// up with a non-zero duty already pending.
static void Drive_Arm(void)
{
    // A latched emergency stop outranks everything. Only a deliberate re-arm
    // clears it.
    if (estop_latched)
    {
        return;
    }

    // Refuse to arm on the absence of bad news. BMS_PACK_UNKNOWN is "no fresh
    // sample", which is not evidence of anything, so arming requires a
    // positive BMS_PACK_OK seen on the most recent pass of the main loop.
    if (Bms_TelemetryInterlockActive() && !pack_telemetry_ok)
    {
        return;
    }

    // Refuse to arm into a pack that has just cut out, or that has not been
    // continuously healthy since it did.
    if ((int32_t)(HAL_GetTick() - pack_rearm_after_tick) < 0)
    {
        return;
    }

    if (!drive_enabled)
    {
        MotorDC_Stop();

        // The latch is re-tested with interrupts off, immediately before the
        // enables go high. Tested only at the top of this function, an ESTOP
        // landing in between would have its register-level Drive_EmergencyOff()
        // undone by the write below -- the bridge would come back up for the
        // few hundred microseconds until the main loop reached the latch
        // handler, which is a stop that visibly did not stop the car.
        //
        // A stop arriving after __enable_irq() is safe without this: it finds
        // drive_enabled == 1, its EmergencyOff() stands, and nothing re-arms
        // because CONTROL packets return early while the latch is set.
        __disable_irq();
        if (!estop_latched)
        {
            HAL_GPIO_WritePin(GPIOA, GPIO_PIN_6 | GPIO_PIN_7, GPIO_PIN_SET);
            drive_enabled = 1U;
        }
        __enable_irq();
    }
}

// Removes drive on any fault. The order matters:
//   1. PWM to zero. Both low sides turn on and the winding current decays
//      inside the bridge, drawing nothing from the pack.
//   2. Short settle. The winding time constant is a few hundred microseconds,
//      so 3 ms is many time constants.
//   3. Only then drop R_EN/L_EN.
// Dropping the enables first would push the remaining winding current back
// through the bridge diodes into the pack, which is its own way to trip the
// protector. This runs only on faults, so the 3 ms is not on any hot path.
static void Drive_FailSafe(void)
{
    drive_watchdog_armed = 0U;
    MotorDC_Stop();
    HAL_Delay(3);
    HAL_GPIO_WritePin(GPIOA, GPIO_PIN_6 | GPIO_PIN_7, GPIO_PIN_RESET);
    drive_enabled = 0U;
}

// Register-level drive kill. Safe to call from a fault handler: it touches no
// HAL state, takes no locks and cannot block.
void Drive_EmergencyOff(void)
{
    TIM1->CCR1 = 0U;
    TIM1->CCR2 = 0U;
    TIM1->EGR  = TIM_EGR_UG;   // force the shadow transfer now, not next period

    GPIOA->BSRR = (uint32_t)(GPIO_PIN_6 | GPIO_PIN_7) << 16U;  // R_EN/L_EN low
}

// -----------------------------------------------------------------------------
// Independent watchdog.
//
// Driven at register level rather than through HAL_IWDG. The IWDG HAL module is
// not in this project's driver source list, and adding it would mean editing
// the CubeMX-generated CMake file for four register writes that have no error
// cases: KR/PR/RLR is the whole peripheral. Enabling the watchdog also starts
// the LSI implicitly, so there is nothing to configure in RCC either.
//
// See IWDG_RELOAD_COUNTS above for why the period is what it is.
// -----------------------------------------------------------------------------
static void IWDG_Start(void)
{
    // Freeze the counter whenever the core is halted by the debugger.
    // Without this, every breakpoint in a Debug build resets the board and
    // the bug being chased is destroyed by the tool looking for it. The bit
    // has no effect when no debugger is attached, so it is safe to leave in
    // the release path too.
    __HAL_DBGMCU_FREEZE_IWDG();

    IWDG->KR = IWDG_KR_ENABLE;   // start the counter (and the LSI with it)
    IWDG->KR = IWDG_KR_UNLOCK;   // allow PR/RLR to be written

    IWDG->PR  = IWDG_PRESCALER_128;
    IWDG->RLR = IWDG_RELOAD_COUNTS;

    // PR and RLR are written across the LSI clock domain; the values are not
    // in force until the update flags clear. Reloading before that would load
    // the reset-default 0xFFF instead of our value. The wait is bounded: the
    // flags clear within a few LSI cycles once the oscillator is up, so if
    // 100 ms is not enough the LSI is not running, the watchdog is already
    // counting on its 512 ms reset-default period, and there is no safe way
    // to continue -- Error_Handler() kills the drive and parks.
    {
        uint32_t started = HAL_GetTick();

        while ((IWDG->SR & (IWDG_SR_PVU | IWDG_SR_RVU)) != 0U)
        {
            if ((HAL_GetTick() - started) > 100U)
            {
                Error_Handler();
            }
        }
    }

    IWDG->KR = IWDG_KR_RELOAD;   // load the counter and re-lock PR/RLR
}

// Kicks the watchdog. A single register write, no HAL state, no blocking --
// safe to call from anywhere, including the fault handlers.
static void IWDG_Refresh(void)
{
    IWDG->KR = IWDG_KR_RELOAD;
}

// Same kick, exported so the fault handlers in stm32g4xx_it.c can hold the
// board in their diagnosed, drive-dead state instead of being reset out of it.
void Watchdog_Kick(void)
{
    IWDG_Refresh();
}

static int16_t MotorPercent_ToPwm(int8_t percent)
{
    if (percent == 0)
    {
        return 0;
    }

    if (percent > DC_PERCENT_MAX)
    {
        percent = DC_PERCENT_MAX;
    }
    else if (percent < -DC_PERCENT_MAX)
    {
        percent = -DC_PERCENT_MAX;
    }

    int8_t sign = 1;
    int32_t abs_percent = percent;  // int32_t чтобы избежать переполнения в формуле

    if (abs_percent < 0)
    {
        sign = -1;
        abs_percent = -abs_percent;
    }

    // На ARM int 32-битный, поэтому промежуточное умножение скорее всего
    // и так считалось бы без переполнения. Но явный int32_t надёжнее и
    // не зависит от платформы — оставляем для ясности.
    // Верхняя граница масштабируется ограничителем скорости, порог трогания -
    // нет. Иначе при малом ограничителе мотор просто перестал бы стартовать.
    const int32_t span_max = DC_PWM_MIN_START +
                             ((int32_t)(DC_PWM_MAX - DC_PWM_MIN_START) *
                              (int32_t)motor_limit_pct) / 100;

    int16_t pwm = (int16_t)(DC_PWM_MIN_START +
                  ((abs_percent - 1) * (span_max - DC_PWM_MIN_START)) / 99);

    return sign * pwm;
}

// Sliding-window resynchronisation, run only after a complete five-byte window
// has FAILED its checksum.
//
// The old parser threw away all five bytes and started over. If one byte is
// lost on the wire, the window that fails is [A5][C][M][X][A5] -- and the
// trailing 0xA5 it discards is the real start of the NEXT frame, so that frame
// is destroyed too. Instead, drop one byte and look for the next 0xA5 among
// the four still in hand, then slide it to the front.
//
// Be honest about when this actually earns its keep. Two frames are lost per
// single-byte error only when the next start byte arrives before the
// partial-frame timeout has been serviced -- that is, frames spaced closer
// than UART_PARTIAL_FRAME_TIMEOUT_MS, or any gap in which the main loop was
// stalled. At the RPi's resting 5 Hz keepalive the 10 ms timeout already
// clears a truncated frame during the gap, so a DELETED byte costs one frame
// with or without this code. What the resync does cover is a CORRUPTED byte,
// whose window completes inside the burst, and any future sender that packs
// frames closer together. The simulation quoted below modelled a gapless
// stream: 2.00 frames lost without the resync, 1.00 with it.
//
// It is bounded, not statistical: only bytes preceding the earliest surviving
// 0xA5 are discarded, so the true frame start can never be skipped past, and
// each call consumes at least one byte, so it always makes progress.
//
// Note what this does NOT do: it never resynchronises inside a frame that is
// still being assembled. The deliberate "do not resync on 0xA5 mid-frame" rule
// is untouched -- packet[2] is a signed motor percent and is legitimately 0xA5
// at -91. Alignment is only ever reconsidered after a window has already
// failed its check, which is information the old code discarded.
//
// Called from the RX ISR with the buffer it owns.
static void UART_Resync(void)
{
    for (uint8_t i = 1U; i < UART_PACKET_SIZE; i++)
    {
        if (uart_packet[i] == UART_PACKET_START)
        {
            memmove(uart_packet, &uart_packet[i], (size_t)(UART_PACKET_SIZE - i));
            uart_packet_index = (uint8_t)(UART_PACKET_SIZE - i);
            link_resync++;
            return;
        }
    }

    uart_packet_index = 0U;
}

static void UART_SendPacket(uint8_t cmd, int8_t motor, uint8_t steer_position)
{
    uint8_t packet[UART_PACKET_SIZE];

    packet[0] = UART_PACKET_START;
    packet[1] = cmd;
    packet[2] = (uint8_t)motor;
    packet[3] = steer_position;
    packet[4] = UART_CalcCRC(packet[0], packet[1], packet[2], packet[3]);

    HAL_UART_Transmit(&huart1, packet, UART_PACKET_SIZE, 10);
}

static void UART_ProcessPacket(uint8_t *packet)
{
    link_frames_used++;

    if (packet[0] != UART_PACKET_START)
    {
        return;
    }

    uint8_t cmd = packet[1];

    // DC motor is signed:
    // -100..-1 = reverse, 0 = stop, +1..+100 = forward
    int8_t motor_percent = (int8_t)packet[2];

    // Steering servo is unsigned:
    // 0 = left, 50 = center, 100 = right
    uint8_t steer_position = packet[3];

    uint8_t crc_rx = packet[4];
    uint8_t crc_calc = UART_CalcCRC(packet[0], packet[1], packet[2], packet[3]);

    if (crc_rx != crc_calc)
    {
        link_crc_err++;
        return;
    }

    switch (cmd)
    {
        case UART_CMD_CONTROL:
        {
            // A latched emergency stop is not something the command stream can
            // drive out of. Ignore CONTROL entirely -- do not touch the motor,
            // do not touch the steering, and above all do not refresh the
            // drive watchdog, so nothing here looks like a live link.
            if (estop_latched)
            {
                return;
            }

            if ((steer_position > 100U) ||
                (motor_percent > 100) ||
                (motor_percent < -100))
            {
                // Wrong protocol value. Stop safely and center steering.
                link_range_err++;
                Drive_FailSafe();
                Steering_Disable();
                return;
            }

            // MOTOR_FORWARD_SIGN is the one place the physical wiring is
            // converted into the protocol's sense of "forward".
            int16_t motor_pwm =
                MotorPercent_ToPwm((int8_t)(MOTOR_FORWARD_SIGN * motor_percent));

            // Only valid CONTROL packets keep the drive watchdog alive.
            // Repeated identical CONTROL packets are normal and harmless.
            last_control_packet_tick = HAL_GetTick();
            drive_watchdog_armed = 1U;
            drive_timeout_ms = UART_CONTROL_TIMEOUT_MS;
            link_control_ok++;

            link_last_motor = motor_percent;
            link_last_steer = steer_position;
            {
                uint8_t mag = (uint8_t)((motor_percent < 0) ? -motor_percent
                                                            : motor_percent);
                if (mag > link_max_motor)             { link_max_motor = mag; }
                if (steer_position < link_steer_min)  { link_steer_min = steer_position; }
                if (steer_position > link_steer_max)  { link_steer_max = steer_position; }
            }

            Drive_Arm();
            Steering_Enable();
            MotorDC_SetSpeed(motor_pwm);
            Steering_SetPosition(steer_position);

            break;
        }

        case UART_CMD_STOP:
        {
            // Keep the watchdog ARMED, and refresh it.
            //
            // This used to disarm it, which was the one place in the file that
            // stopped supervising the link without also opening the bridge:
            // Drive_FailSafe() clears both flags together, STOP cleared only
            // the watchdog. Because the watchdog's guard is the armed flag and
            // not the age of the last packet, the result was an enabled
            // full-authority bridge with nothing watching the link at all --
            // and with both compares at zero the winding sits shorted across
            // it, so a car that is pushed or rolls circulates its back-EMF
            // through the low-side FETs unsupervised.
            //
            // Keeping it armed means the ramp-down still runs, and if no
            // further packet arrives the CONTROL watchdog opens the bridge
            // half a second later, exactly as it does for any other silence.
            //
            // Nothing else covered this: the truncated-frame handler used to,
            // by accident, and it no longer brakes on a lost byte.
            last_control_packet_tick = HAL_GetTick();
            drive_watchdog_armed = 1U;
            drive_timeout_ms = UART_CONTROL_TIMEOUT_MS;

            MotorDC_SetSpeed(0);
            Steering_Enable();
            Steering_SetPosition(50U); // smooth center through Steering_Update()
            break;
        }

        case UART_CMD_ESTOP:
        {
            // Normally unreachable: the ISR latches ESTOP and the main loop
            // acts on the latch, so an ESTOP never reaches the one-packet
            // mailbox this function reads from. Kept as a backstop -- if the
            // latch path is ever changed, an ESTOP that arrives by this route
            // must still stop the car rather than fall through to default.
            estop_latched = 1U;
            break;
        }

        case UART_CMD_PING:
        {
            // Report current commanded servo position after slew-rate limiting.
            // This is not external physical feedback from the servo.
            UART_SendPacket(UART_CMD_PING, 0, Steering_GetCurrentPosition());
            break;
        }

        default:
        {
            break;
        }
    }
}

void HAL_UART_RxCpltCallback(UART_HandleTypeDef *huart)
{
    if (huart->Instance == USART1)
    {
        last_rx_byte_tick = HAL_GetTick();
        link_bytes++;

        if (uart_packet_index == 0U)
        {
            if (rx_byte == UART_PACKET_START)
            {
                uart_packet[0] = rx_byte;
                uart_packet_index = 1U;
            }
        }
        else
        {
            // Fixed-length binary packet.
            // Do NOT resync on 0xA5 inside an already started packet:
            // packet[2] is signed motor_percent and can legitimately be 0xA5
            // when motor_percent == -91.
            // Corrupted packets are rejected by CRC.
            uart_packet[uart_packet_index++] = rx_byte;

            if (uart_packet_index >= UART_PACKET_SIZE)
            {
                // ESTOP is taken out of the mailbox and latched right here.
                //
                // The mailbox below holds exactly one packet and the newest
                // one wins, which is correct for CONTROL -- an old throttle
                // value is worthless. It is wrong for ESTOP: the RPi streams
                // CONTROL continuously, so a CONTROL packet lands behind the
                // ESTOP within a millisecond and overwrites it, and the car
                // never stops. Latching costs four XORs in the ISR and cannot
                // be lost. Acting on the same stop twice is harmless.
                //
                // The CRC is checked here for the same reason the main loop
                // checks it: a corrupted frame must not be able to invent a
                // stop. uart_packet[0] is UART_PACKET_START by construction.
                // The checksum is now tested HERE rather than only in the main
                // loop, because a failed window is what drives the sliding
                // resynchronisation below -- and that has to happen in the
                // buffer this ISR owns, before the bytes are gone.
                bool frame_ok = (uart_packet[4] == UART_CalcCRC(uart_packet[0],
                                                                uart_packet[1],
                                                                uart_packet[2],
                                                                uart_packet[3]));

                if (!frame_ok)
                {
                    // Bad window: keep whatever might be the start of the next
                    // frame instead of discarding all five bytes.
                    link_crc_err++;
                    UART_Resync();
                }
                else
                {
                    if (uart_packet[1] == UART_CMD_ESTOP)
                    {
                        estop_latched = 1U;
                        link_estop++;

                        // Kill the bridge now, at register level, instead of
                        // waiting for the main loop: a monitor console command
                        // can hold that loop for a few hundred milliseconds,
                        // and an emergency stop must not queue behind it. The
                        // main loop still runs the full, ordered fail-safe
                        // afterwards.
                        Drive_EmergencyOff();
                    }

                    link_frames++;

                    // Latest complete packet wins.
                    // This is better for high-rate repeated control commands.
                    memcpy(uart_packet_rx, uart_packet, UART_PACKET_SIZE);
                    uart_packet_ready = 1U;

                    uart_packet_index = 0U;
                }
            }
        }

        HAL_UART_Receive_IT(&huart1, &rx_byte, 1);
    }
}

void HAL_UART_ErrorCallback(UART_HandleTypeDef *huart)
{
    if (huart->Instance == USART1)
    {
        // Noise / overrun / framing error can stop HAL RX.
        // Reset packet assembly and restart byte reception.
        uart_packet_index = 0U;
        link_uart_err++;

        HAL_UART_AbortReceive(huart);
        HAL_UART_Receive_IT(&huart1, &rx_byte, 1);
    }
}

// -----------------------------------------------------------------------------
// USER button (blue B1, PC13) = bench emergency stop.
//
// The EXTI line was already configured by BSP_PB_Init() and had no handler, so
// pressing the only button on the board did nothing. It now latches exactly the
// same emergency stop as the UART ESTOP command: same flag, same fail-safe in
// the main loop, same deliberate re-arm with 'e' on the console.
//
// This is the stop that works when the RPi is the thing that has failed, so it
// deliberately does not depend on the UART link, on the main loop having
// reached its next pass, or on the pack monitor being alive.
// -----------------------------------------------------------------------------
void HAL_GPIO_EXTI_Callback(uint16_t GPIO_Pin)
{
    if (GPIO_Pin == USER_BUTTON_PIN)
    {
        static uint32_t last_press_tick = 0U;
        uint32_t now = HAL_GetTick();

        // Contact bounce is a burst of rising edges. Only the first edge of a
        // burst is a press. Note that a debounce failure here could only
        // re-latch a stop that is already latched, so this window is about
        // keeping the console readable, not about correctness.
        if ((last_press_tick != 0U) &&
            ((now - last_press_tick) < ESTOP_BUTTON_DEBOUNCE_MS))
        {
            return;
        }
        // Second action: a press while a stop is already latched CLEARS it, so
        // the one button on this board is the whole stop control and the
        // console is not needed to get moving again.
        //
        // Guarded by a much longer window than the debounce above. Clearing a
        // stop must not be something a bounce, a knock or a nervous double-tap
        // can do -- it has to be a separate, deliberate press. Latching, by
        // contrast, stays instant: making a stop harder to reach would be the
        // wrong trade in every case.
        if (estop_latched)
        {
            if ((now - last_press_tick) < ESTOP_BUTTON_REARM_MS)
            {
                return;     /* too soon after the stop -- ignore, stay stopped */
            }

            last_press_tick = now;
            estop_latched = 0U;

            // Deliberately does NOT re-enable the bridge. Clearing the latch
            // only removes the block; the drive still has to be commanded
            // again by the RPi or the bench keys, and Drive_Arm() still has to
            // be satisfied. Releasing a stop must never itself start a motor.
            return;
        }

        last_press_tick = now;

        estop_latched = 1U;

        // Immediate register-level kill, for the same reason as the UART
        // ESTOP path: the main loop may be several hundred milliseconds away.
        Drive_EmergencyOff();
    }
}

// The Nucleo BSP routes EXTI through its own HAL_EXTI handle, so this weak
// hook -- not HAL_GPIO_EXTI_Callback -- is what actually fires for B1. Both
// entry points end up in the same place so the behaviour does not depend on
// which one a future rewiring uses.
void BSP_PB_Callback(Button_TypeDef Button)
{
    if (Button == BUTTON_USER)
    {
        HAL_GPIO_EXTI_Callback(USER_BUTTON_PIN);
    }
}

void HAL_TIM_PeriodElapsedCallback(TIM_HandleTypeDef *htim)
{
    if (htim->Instance == TIM4)
    {
        Steering_Update();
        MotorDC_Update();   // same 2 ms tick drives the DC speed ramp
    }
}

/* USER CODE END 4 */

void Error_Handler(void)
{
  /* USER CODE BEGIN Error_Handler_Debug */
  /* User can add his own implementation to report the HAL error return state */
  // Kill drive BEFORE parking the CPU. TIM1 is a peripheral: without this it
  // keeps generating PWM at the last commanded duty, with the bridge still
  // enabled, for as long as the board has power.
  Drive_EmergencyOff();
  BSP_LED_Init(LED_GREEN);
  __disable_irq();
  while (1)
  {
    // Kick the watchdog from inside the park loop.
    //
    // This looks backwards, but the drive is already dead and staying here is
    // the DEFINED safe state: motor off, bridge off, LED blinking, a human
    // can see what happened. Letting IWDG reset out of it would instead give
    // a silent reboot loop in which the bridge is re-armed by the next
    // CONTROL packet, faults again, and repeats -- the pack protector
    // hammered several times a second, which is the exact cycle that
    // destroyed the previous board. The watchdog is there to catch a loop
    // that has silently stopped looping, not to escape a diagnosed fault.
    Watchdog_Kick();

    BSP_LED_Toggle(LED_GREEN);
    for (volatile uint32_t i = 0; i < 300000U; i++)
    {
    }
  }
  /* USER CODE END Error_Handler_Debug */
}
